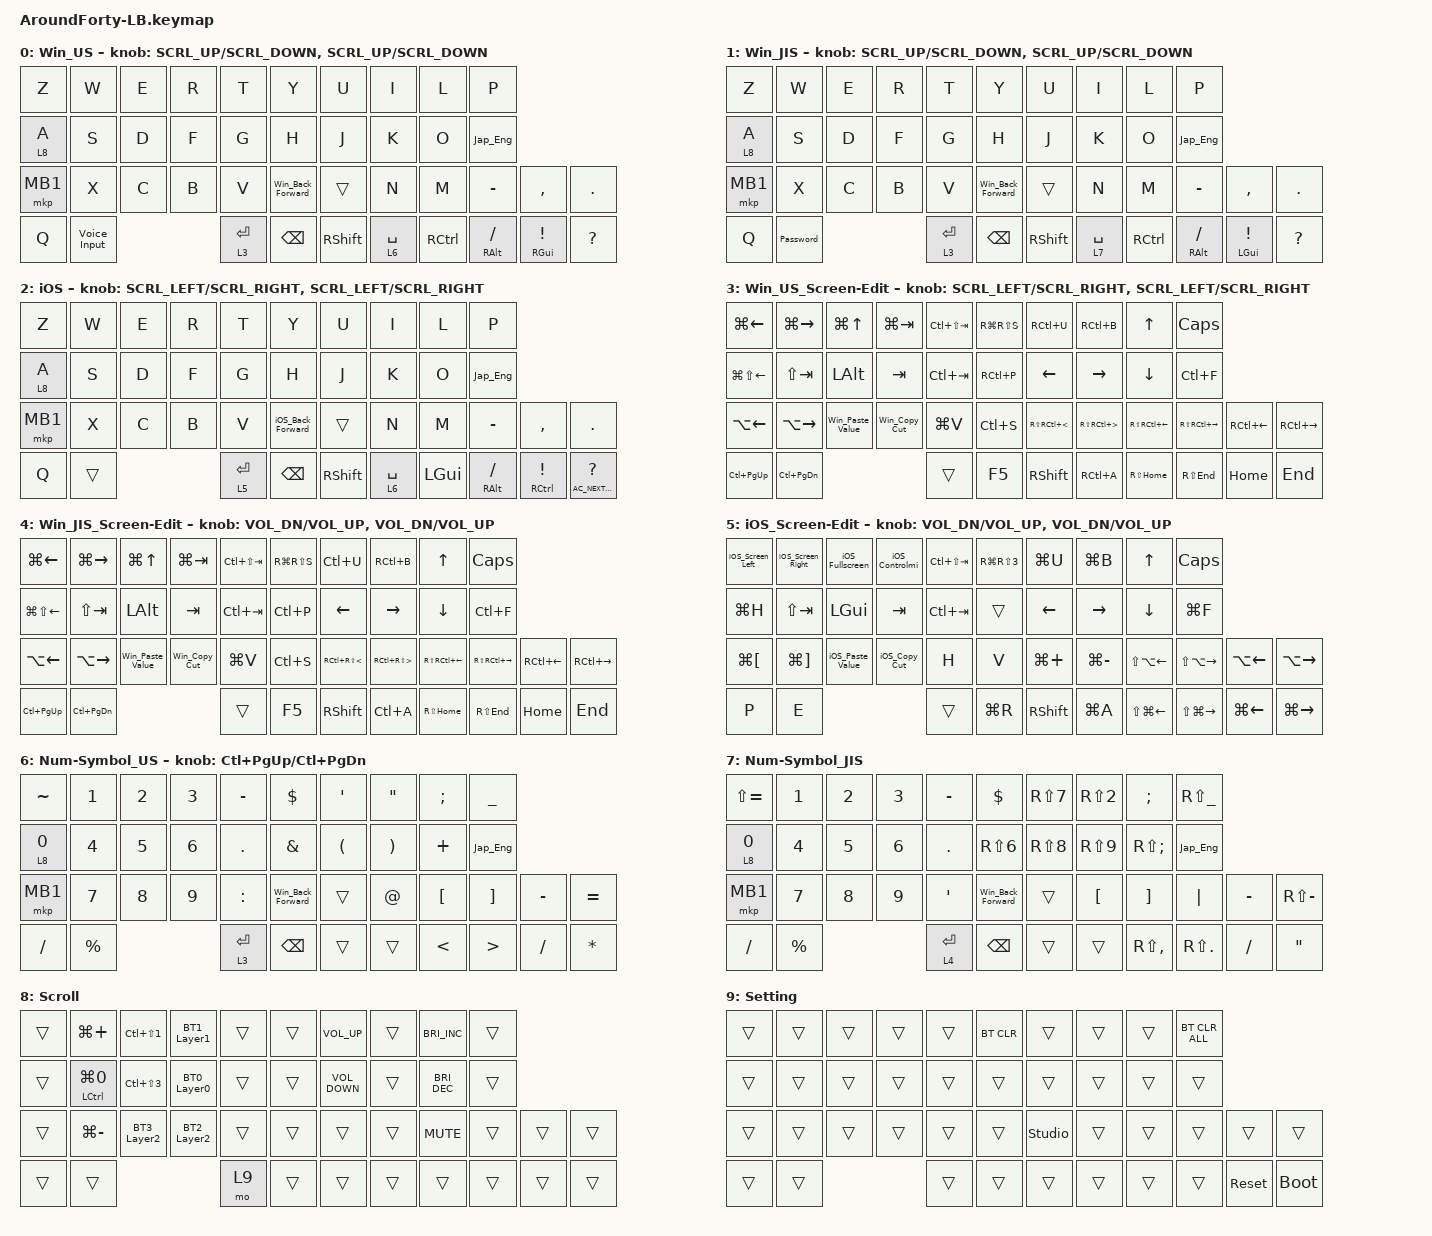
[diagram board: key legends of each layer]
#include <behaviors.dtsi>
#include <dt-bindings/zmk/bt.h>
#include <dt-bindings/zmk/keys.h>
#include <dt-bindings/zmk/pointing.h>

#undef ZMK_POINTING_DEFAULT_SCRL_VAL

#define ZMK_POINTING_DEFAULT_SCRL_VAL 100
#define MOUSE 6

&mt {
    flavor = "balanced";
    quick-tap-ms = <0>;
};

/ {
    //コンボ設定

    combos {
        compatible = "zmk,combos";

        muhennkann {
            bindings = <&to_layer_0 INT_MUHENKAN>;
            key-positions = <24 25>;
        };

        Right_Click {
            bindings = <&mkp MB2>;
            key-positions = <11 12>;
        };

        Delete {
            bindings = <&kp DELETE>;
            key-positions = <22 23>;
            layers = <0 1 2 6 7>;
        };

        KATAKANA {
            bindings = <&kp F7>;
            key-positions = <2 3>;
            layers = <0 1 2>;
        };

        Win-US_Num-Toggle {
            bindings = <&tog 6>;
            key-positions = <20 24>;
            layers = <0>;
        };

        Win_New_Tab {
            bindings = <&kp LC(T)>;
            key-positions = <3 2>;
            layers = <3 4>;
        };

        iOS_New_Tab {
            bindings = <&kp LG(T)>;
            key-positions = <3 2>;
            layers = <5>;
        };

        Win_Close_Window {
            bindings = <&kp LC(W)>;
            key-positions = <0 1>;
            layers = <3 4>;
        };

        iOS_Close_Window {
            bindings = <&kp LG(W)>;
            key-positions = <0 1>;
            layers = <5>;
        };

        Win_Quit_App {
            bindings = <&kp LC(Q)>;
            key-positions = <20 21>;
            layers = <3 4>;
        };

        Win_Task-Bar {
            bindings = <&kp LG(T)>;
            key-positions = <22 23>;
            layers = <3 4>;
        };

        iOS_Task-Bar {
            bindings = <&kp LG(LA(D))>;
            key-positions = <22 23>;
            layers = <5>;
        };

        Win-JIS_Num-Toggle {
            bindings = <&tog 7>;
            key-positions = <20 24>;
            layers = <1>;
        };

        Escape {
            bindings = <&kp ESCAPE>;
            key-positions = <0 1>;
            layers = <0 1 2>;
        };

        Insert {
            bindings = <&kp INSERT>;
            key-positions = <20 21>;
            layers = <0 1 2>;
        };

        Win_Sleep-Off {
            bindings = <&kp LG(X)>;
            key-positions = <6 7>;
            layers = <0 1>;
        };

        Win_S {
            bindings = <&kp S>;
            key-positions = <7 8>;
            layers = <0 1>;
        };
    };

    //マクロ(既存のキーの組み合わせ)

    macros {
        to_layer_0: to_layer_0 {
            compatible = "zmk,behavior-macro-one-param";
            #binding-cells = <1>;
            bindings = <&to 0 &macro_param_1to1 &kp MACRO_PLACEHOLDER>;
            label = "TO_LAYER_0";
        };

        Password: Password {
            compatible = "zmk,behavior-macro";
            #binding-cells = <0>;
            bindings = <&kp N2 &kp N1 &kp N3 &kp N0 &kp A &kp G &kp LS(U) &kp N1 &kp N2 &kp N3>;
            label = "PASSWORD";
        };

        iOS_Controlmi: iOS_Controlmi {
            compatible = "zmk,behavior-macro";
            #binding-cells = <0>;
            bindings =
                <&macro_press>,
                <&kp C_AC_NEXT_KEYBOARD_LAYOUT_SELECT>,
                <&macro_tap>,
                <&kp UP_ARROW>,
                <&macro_release>,
                <&kp C_AC_NEXT_KEYBOARD_LAYOUT_SELECT>;

            label = "IOS_CONTROLMI";
        };

        BT0_Layer0: BT0_Layer0 {
            compatible = "zmk,behavior-macro";
            #binding-cells = <0>;
            bindings = <&bt BT_SEL 0>, <&macro_wait_time 200>, <&to 0>;

            label = "BT0_LAYER0";
        };

        BT1_Layer1: BT0_Layer1 {
            compatible = "zmk,behavior-macro";
            #binding-cells = <0>;
            bindings = <&bt BT_SEL 1>, <&macro_wait_time 200>, <&to 1>;

            label = "BT0_LAYER1";
        };

        BT2_Layer2: BT0_Layer2 {
            compatible = "zmk,behavior-macro";
            #binding-cells = <0>;
            bindings = <&bt BT_SEL 2>, <&macro_wait_time 200>, <&to 2>;

            label = "BT0_LAYER2";
        };

        iOS_Fullscreen: iOS_Fullscreen {
            compatible = "zmk,behavior-macro";
            #binding-cells = <0>;
            bindings =
                <&macro_press>,
                <&kp C_AC_NEXT_KEYBOARD_LAYOUT_SELECT>,
                <&macro_tap>,
                <&kp F>,
                <&macro_release>,
                <&kp C_AC_NEXT_KEYBOARD_LAYOUT_SELECT>;

            label = "IOS_FULLSCREEN";
        };

        iOS_Screen_Right: iOS_Screen_Right {
            compatible = "zmk,behavior-macro";
            #binding-cells = <0>;
            bindings =
                <&macro_press>,
                <&kp C_AC_NEXT_KEYBOARD_LAYOUT_SELECT>,
                <&macro_tap>,
                <&kp LC(RIGHT)>,
                <&macro_release>,
                <&kp C_AC_NEXT_KEYBOARD_LAYOUT_SELECT>;

            label = "IOS_SCREEN_RIGHT";
        };

        iOS_Screen_Left: iOS_Screen_Left {
            compatible = "zmk,behavior-macro";
            #binding-cells = <0>;
            bindings =
                <&macro_press>,
                <&kp C_AC_NEXT_KEYBOARD_LAYOUT_SELECT>,
                <&macro_tap>,
                <&kp LC(LEFT)>,
                <&macro_release>,
                <&kp C_AC_NEXT_KEYBOARD_LAYOUT_SELECT>;

            label = "IOS_SCREEN_LEFT";
        };

        Win_Sleep_Off: Win_Sleep_Off {
            compatible = "zmk,behavior-macro";
            #binding-cells = <0>;
            bindings = <&kp LG(X) &kp U>;
            label = "WIN_SLEEP_OFF";
        };

        BT3_Layer2: BT3_Layer2 {
            compatible = "zmk,behavior-macro";
            #binding-cells = <0>;
            bindings = <&bt BT_SEL 3>, <&macro_wait_time 200>, <&to 2>;

            label = "BT3_LAYER2";
        };

        Win_Sleeep: Win_Sleeep {
            compatible = "zmk,behavior-macro";
            #binding-cells = <0>;
            bindings =
                <&kp LG(X)>,
                <&macro_release>,
                <&kp LEFT_GUI>,
                <&macro_wait_time 200>,
                <&kp U>,
                <&macro_tap>,
                <&kp S>;

            label = "WIN_SLEEEP";
        };
    };

    //新たな動作を定義する

    behaviors {
        lt_to_layer_0: lt_to_layer_0 {
            compatible = "zmk,behavior-hold-tap";
            label = "LAYER_TAP_TO_0";
            bindings = <&mo>, <&to_layer_0>;

            #binding-cells = <2>;
            tapping-term-ms = <200>;
        };

        mouse_scroll: mouse_wheel_scrl {
            compatible = "zmk,behavior-sensor-rotate-var";
            #sensor-binding-cells = <2>;
            bindings = <&msc>, <&msc>;

            tap-ms = <20>;
        };

        Scroll_Tap: Scroll_Tap {
            compatible = "zmk,behavior-hold-tap";
            label = "SCROLL_TAP";
            bindings = <&mo>, <&kp>;

            #binding-cells = <2>;
            tapping-term-ms = <230>;
            flavor = "tap-preferred";
        };

        Jap_Eng: Jap_Eng {
            compatible = "zmk,behavior-tap-dance";
            label = "JAP_ENG";
            #binding-cells = <0>;
            bindings = <&kp LANGUAGE_2>, <&kp LANGUAGE_1>;

            tapping-term-ms = <250>;
        };

        Win_Back_Forward: Win_Back_Forward {
            compatible = "zmk,behavior-tap-dance";
            label = "WIN_BACK_FORWARD";
            #binding-cells = <0>;
            bindings = <&kp LC(Z)>, <&kp LC(Y)>;
        };

        Voice_Input: Voice_Input {
            compatible = "zmk,behavior-tap-dance";
            label = "VOICE_INPUT";
            #binding-cells = <0>;
            bindings = <&kp LC(LEFT_ALT)>, <&kp LC(LS(LEFT_ALT))>;
        };

        iOS_Copy_Cut: iOS_Copy_Cut {
            compatible = "zmk,behavior-tap-dance";
            label = "IOS_COPY_CUT";
            #binding-cells = <0>;
            bindings = <&kp RG(C)>, <&kp RG(X)>;
        };

        Win_Paste_Value: Win_Paste_Value {
            compatible = "zmk,behavior-tap-dance";
            label = "WIN_PASTE_VALUE";
            #binding-cells = <0>;
            bindings = <&kp LC(LS(V))>, <&kp LC(V)>;
        };

        Win_Copy_Cut: Win_Copy_Cut {
            compatible = "zmk,behavior-tap-dance";
            label = "WIN_COPY_CUT";
            #binding-cells = <0>;
            bindings = <&kp RC(C)>, <&kp RC(X)>;
        };

        iOS_Paste_Value: iOS_Paste_Value {
            compatible = "zmk,behavior-tap-dance";
            label = "IOS_PASTE_VALUE";
            #binding-cells = <0>;
            bindings = <&kp LG(LS(V))>, <&kp LG(V)>;
        };

        iOS_Back_Forward: iOS_Back_Forward {
            compatible = "zmk,behavior-tap-dance";
            label = "IOS_BACK_FORWARD";
            #binding-cells = <0>;
            bindings = <&kp LG(Z)>, <&kp LC(LG(Z))>;
        };
    };

    //キーマップ設定

    keymap {
        compatible = "zmk,keymap";

        Win_US {
            bindings = <
&kp Z            &kp W         &kp E  &kp R  &kp T          &kp Y              &kp U            &kp I        &kp L      &kp P
&Scroll_Tap 8 A  &kp S         &kp D  &kp F  &kp G          &kp H              &kp J            &kp K        &kp O      &Jap_Eng
&mkp MB1         &kp X         &kp C  &kp B  &kp V          &Win_Back_Forward  &trans           &kp N        &kp M      &kp MINUS            &kp COMMA           &kp PERIOD
&kp Q            &Voice_Input                &lt 3 ENTER    &kp BACKSPACE      &kp RIGHT_SHIFT  &lt 6 SPACE  &kp RCTRL  &mt RIGHT_ALT SLASH  &mt RIGHT_GUI EXCL  &kp QUESTION
            >;

            sensor-bindings =
                <&mouse_scroll SCRL_UP SCRL_DOWN>,
                <&mouse_scroll SCRL_UP SCRL_DOWN>;
        };

        Win_JIS {
            bindings = <
&kp Z            &kp W      &kp E  &kp R  &kp T          &kp Y              &kp U            &kp I        &kp L      &kp P
&Scroll_Tap 8 A  &kp S      &kp D  &kp F  &kp G          &kp H              &kp J            &kp K        &kp O      &Jap_Eng
&mkp MB1         &kp X      &kp C  &kp B  &kp V          &Win_Back_Forward  &trans           &kp N        &kp M      &kp MINUS            &kp COMMA          &kp PERIOD
&kp Q            &Password                &lt 3 ENTER    &kp BACKSPACE      &kp RIGHT_SHIFT  &lt 7 SPACE  &kp RCTRL  &mt RIGHT_ALT SLASH  &mt LEFT_GUI EXCL  &kp QUESTION
            >;

            sensor-bindings =
                <&mouse_scroll SCRL_UP SCRL_DOWN>,
                <&mouse_scroll SCRL_UP SCRL_DOWN>;
        };

        iOS {
            bindings = <
&kp Z            &kp W   &kp E  &kp R  &kp T          &kp Y              &kp U            &kp I        &kp L         &kp P
&Scroll_Tap 8 A  &kp S   &kp D  &kp F  &kp G          &kp H              &kp J            &kp K        &kp O         &Jap_Eng
&mkp MB1         &kp X   &kp C  &kp B  &kp V          &iOS_Back_Forward  &trans           &kp N        &kp M         &kp MINUS            &kp COMMA              &kp PERIOD
&kp Q            &trans                &lt 5 ENTER    &kp BACKSPACE      &kp RIGHT_SHIFT  &lt 6 SPACE  &kp LEFT_GUI  &mt RIGHT_ALT SLASH  &mt RCTRL EXCLAMATION  &mt C_AC_NEXT_KEYBOARD_LAYOUT_SELECT QUESTION
            >;

            sensor-bindings =
                <&mouse_scroll SCRL_LEFT SCRL_RIGHT>,
                <&mouse_scroll SCRL_LEFT SCRL_RIGHT>;
        };

        Win_US_Screen-Edit {
            bindings = <
&kp LG(LEFT_ARROW)  &kp LG(RIGHT)      &kp LG(UP_ARROW)  &kp LG(TAB)    &kp LC(LS(TAB))    &kp RG(RS(S))  &kp RC(U)              &kp RC(B)                 &kp UP_ARROW      &kp CAPSLOCK
&kp LG(LS(LEFT))    &kp LS(TAB)        &kp LEFT_ALT      &kp TAB        &kp LC(TAB)        &kp RC(P)      &kp LEFT               &kp RIGHT                 &kp DOWN          &kp LC(F)
&kp LA(LEFT)        &kp LA(RIGHT)      &Win_Paste_Value  &Win_Copy_Cut  &kp LG(V)          &kp LC(S)      &kp RS(RC(LESS_THAN))  &kp RS(RC(GREATER_THAN))  &kp RS(RC(LEFT))  &kp RS(RC(RIGHT))  &kp RC(LEFT)  &kp RC(RIGHT)
&kp LC(PAGE_UP)     &kp LC(PAGE_DOWN)                                   &trans             &kp F5         &kp RIGHT_SHIFT        &kp RC(A)                 &kp RS(HOME)      &kp RS(END)        &kp HOME      &kp END
            >;

            sensor-bindings =
                <&mouse_scroll SCRL_LEFT SCRL_RIGHT>,
                <&mouse_scroll SCRL_LEFT SCRL_RIGHT>;
        };

        Win_JIS_Screen-Edit {
            bindings = <
&kp LG(LEFT)      &kp LG(RIGHT)      &kp LG(UP_ARROW)  &kp LG(TAB)    &kp LC(LS(TAB))    &kp RG(RS(S))  &kp LC(U)              &kp RC(B)                 &kp UP_ARROW      &kp CAPSLOCK
&kp LG(LS(LEFT))  &kp LS(TAB)        &kp LEFT_ALT      &kp TAB        &kp LC(TAB)        &kp LC(P)      &kp LEFT               &kp RIGHT                 &kp DOWN          &kp LC(F)
&kp LA(LEFT)      &kp LA(RIGHT)      &Win_Paste_Value  &Win_Copy_Cut  &kp LG(V)          &kp LC(S)      &kp RC(RS(LESS_THAN))  &kp RC(RS(GREATER_THAN))  &kp RS(RC(LEFT))  &kp RS(RC(RIGHT))  &kp RC(LEFT)  &kp RC(RIGHT)
&kp LC(PAGE_UP)   &kp LC(PAGE_DOWN)                                   &trans             &kp F5         &kp RIGHT_SHIFT        &kp LC(A)                 &kp RS(HOME)      &kp RS(END)        &kp HOME      &kp END
            >;

            sensor-bindings =
                <&inc_dec_kp C_VOL_DN C_VOL_UP>,
                <&inc_dec_kp C_VOL_DN C_VOL_UP>;
        };

        iOS_Screen-Edit {
            bindings = <
&iOS_Screen_Left      &iOS_Screen_Right      &iOS_Fullscreen   &iOS_Controlmi  &kp LC(LS(TAB))    &kp RG(RS(NUMBER_3))  &kp LG(U)        &kp LG(B)      &kp UP_ARROW      &kp CAPSLOCK
&kp LG(H)             &kp LS(TAB)            &kp LEFT_GUI      &kp TAB         &kp LC(TAB)        &trans                &kp LEFT         &kp RIGHT      &kp DOWN          &kp LG(F)
&kp LG(LEFT_BRACKET)  &kp LG(RIGHT_BRACKET)  &iOS_Paste_Value  &iOS_Copy_Cut   &kp H              &kp V                 &kp LG(PLUS)     &kp LG(MINUS)  &kp LS(LA(LEFT))  &kp LS(LA(RIGHT))  &kp LA(LEFT)  &kp LA(RIGHT)
&kp P                 &kp E                                                    &trans             &kp LG(R)             &kp RIGHT_SHIFT  &kp LG(A)      &kp LS(LG(LEFT))  &kp LS(LG(RIGHT))  &kp LG(LEFT)  &kp LG(RIGHT)
            >;

            sensor-bindings =
                <&inc_dec_kp C_VOL_DN C_VOL_UP>,
                <&inc_dec_kp C_VOL_DN C_VOL_UP>;
        };

        Num-Symbol_US {
            bindings = <
&kp TILDE         &kp NUMBER_1  &kp NUMBER_2  &kp NUMBER_3  &kp MINUS      &kp DOLLAR         &kp SINGLE_QUOTE      &kp DOUBLE_QUOTES      &kp SEMICOLON     &kp UNDERSCORE
&Scroll_Tap 8 N0  &kp NUMBER_4  &kp N5        &kp NUMBER_6  &kp PERIOD     &kp AMPERSAND      &kp LEFT_PARENTHESIS  &kp RIGHT_PARENTHESIS  &kp PLUS          &Jap_Eng
&mkp MB1          &kp N7        &kp N8        &kp N9        &kp COLON      &Win_Back_Forward  &trans                &kp AT_SIGN            &kp LEFT_BRACKET  &kp RIGHT_BRACKET  &kp MINUS  &kp EQUAL
&kp SLASH         &kp PERCENT                               &lt 3 ENTER    &kp BACKSPACE      &trans                &trans                 &kp LESS_THAN     &kp GREATER_THAN   &kp SLASH  &kp ASTERISK
            >;

            sensor-bindings = <&inc_dec_kp LC(PAGE_UP) LC(PAGE_DOWN)>;
        };

        Num-Symbol_JIS {
            bindings = <
&kp LS(EQUAL)     &kp N1       &kp N2  &kp N3  &kp MINUS         &kp DOLLAR         &kp RS(N7)  &kp RS(NUMBER_2)  &kp SEMICOLON      &kp RS(UNDER)
&Scroll_Tap 8 N0  &kp N4       &kp N5  &kp N6  &kp PERIOD        &kp RS(NUMBER_6)   &kp RS(N8)  &kp RS(N9)        &kp RS(SEMICOLON)  &Jap_Eng
&mkp MB1          &kp N7       &kp N8  &kp N9  &kp APOSTROPHE    &Win_Back_Forward  &trans      &kp LEFT_BRACKET  &kp RIGHT_BRACKET  &kp PIPE        &kp MINUS  &kp RS(MINUS)
&kp SLASH         &kp PERCENT                  &lt 4 ENTER       &kp BACKSPACE      &trans      &trans            &kp RS(COMMA)      &kp RS(PERIOD)  &kp SLASH  &kp DOUBLE_QUOTES
            >;
        };

        Scroll {
            bindings = <
&trans  &kp LG(PLUS)      &kp LC(LS(NUMBER_1))  &BT1_Layer1  &trans    &trans  &kp C_VOLUME_UP    &trans  &kp C_BRIGHTNESS_INC  &trans
&trans  &mt LCTRL LG(N0)  &kp LC(LS(NUMBER_3))  &BT0_Layer0  &trans    &trans  &kp C_VOLUME_DOWN  &trans  &kp C_BRIGHTNESS_DEC  &trans
&trans  &kp LG(MINUS)     &BT3_Layer2           &BT2_Layer2  &trans    &trans  &trans             &trans  &kp C_MUTE            &trans  &trans  &trans
&trans  &trans                                               &mo 9     &trans  &trans             &trans  &trans                &trans  &trans  &trans
            >;
        };

        Setting {
            bindings = <
&trans  &trans  &trans  &trans  &trans    &bt BT_CLR  &trans          &trans  &trans  &bt BT_CLR_ALL
&trans  &trans  &trans  &trans  &trans    &trans      &trans          &trans  &trans  &trans
&trans  &trans  &trans  &trans  &trans    &trans      &studio_unlock  &trans  &trans  &trans          &trans      &trans
&trans  &trans                  &trans    &trans      &trans          &trans  &trans  &trans          &sys_reset  &bootloader
            >;
        };
    };
};
